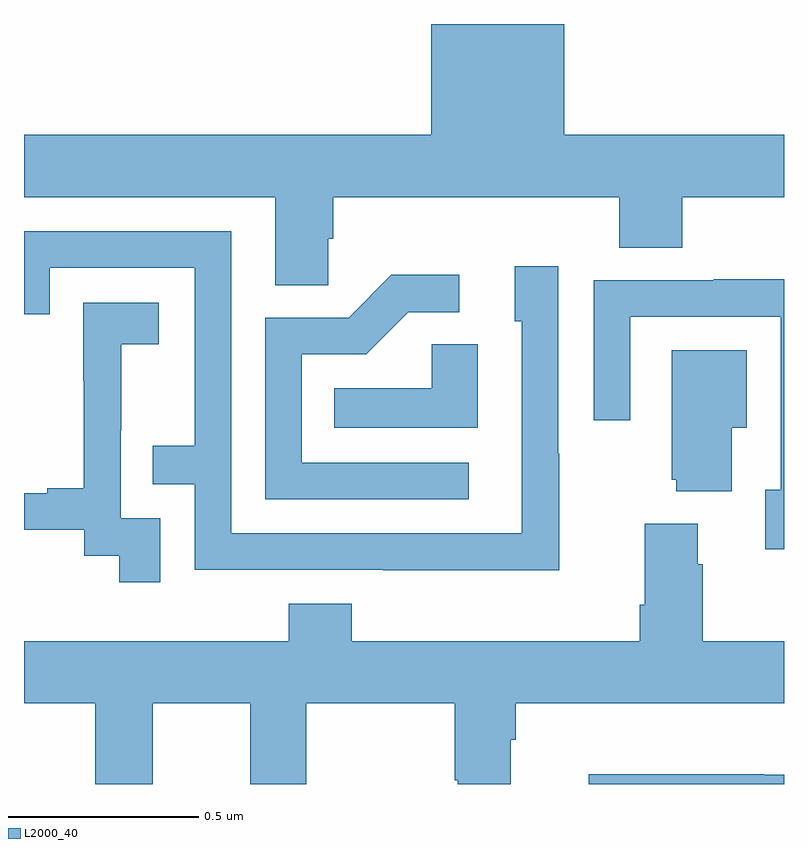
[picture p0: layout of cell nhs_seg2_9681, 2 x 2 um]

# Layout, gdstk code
import gdstk
lib = gdstk.Library(unit=1e-6, precision=1e-09)
def P(c, l, *ps):  # polygons
    for p in ps: c.add(gdstk.Polygon(p, *l))
L2000_40 = (2000, 40)

nhs_seg2_9681 = lib.new_cell('nhs_seg2_9681')
P(nhs_seg2_9681, L2000_40, [(232.8,606.235),(232.814,606.235),(232.814,606.344),(233.567,606.344),(233.567,606.211),(233.732,606.211),(233.732,606.344),(234,606.344),(234,606.508),(233.422,606.508),(233.422,606.8),(233.072,606.8),(233.072,606.508),(232,606.508),(232,606.344),(232.661,606.344),(232.661,606.112),(232.8,606.112)],
  [(233.409,605.669),(233.406,605.669),(233.406,606.163),(233.291,606.163),(233.291,606.018),(233.31,606.018),(233.31,605.46),(232.545,605.46),(232.545,606.255),(232,606.255),(232,606.036),(232.068,606.036),(232.068,606.159),(232.449,606.159),(232.449,605.69),(232.339,605.69),(232.339,605.589),(232.449,605.589),(232.449,605.364),(232.945,605.364),(232.945,605.363),(233.409,605.363)],
  [(233.17,605.646),(232.731,605.646),(232.731,605.931),(232.9,605.931),(233.011,606.042),(233.146,606.042),(233.146,606.14),(232.967,606.14),(232.854,606.027),(232.635,606.027),(232.635,605.55),(233.17,605.55)],
  [(234,606.128),(233.815,606.128),(233.815,606.126),(233.499,606.126),(233.499,605.757),(233.595,605.757),(233.595,606.03),(233.991,606.03),(233.991,605.574),(233.951,605.574),(233.951,605.418),(234,605.418)],
  [(232.359,605.499),(232.254,605.499),(232.254,605.729),(232.256,605.729),(232.256,605.957),(232.354,605.957),(232.354,606.067),(232.156,606.067),(232.156,605.861),(232.157,605.861),(232.157,605.578),(232.061,605.578),(232.061,605.565),(232,605.565),(232,605.469),(232.158,605.469),(232.158,605.401),(232.251,605.401),(232.251,605.331),(232.359,605.331)],
  [(233.194,605.957),(233.073,605.957),(233.073,605.842),(232.816,605.842),(232.816,605.738),(233.194,605.738)],
  [(233.863,605.738),(233.902,605.738),(233.902,605.941),(233.705,605.941),(233.705,605.601),(233.717,605.601),(233.717,605.57),(233.863,605.57)],
  [(232.697,605.176),(232,605.176),(232,605.012),(232.187,605.012),(232.187,604.8),(232.339,604.8),(232.339,605.012),(232.595,605.012),(232.595,604.8),(232.743,604.8),(232.743,605.012),(233.134,605.012),(233.134,604.81),(233.141,604.81),(233.141,604.8),(233.281,604.8),(233.281,604.916),(233.294,604.916),(233.294,605.012),(234,605.012),(234,605.176),(233.786,605.176),(233.786,605.378),(233.773,605.378),(233.773,605.485),(233.633,605.485),(233.633,605.272),(233.621,605.272),(233.621,605.176),(232.862,605.176),(232.862,605.275),(232.697,605.275)],
  [(234,604.824),(233.948,604.824),(233.948,604.826),(233.486,604.826),(233.486,604.8),(234,604.8)])

lib.write_gds('nhs_seg2_9681.gds')
